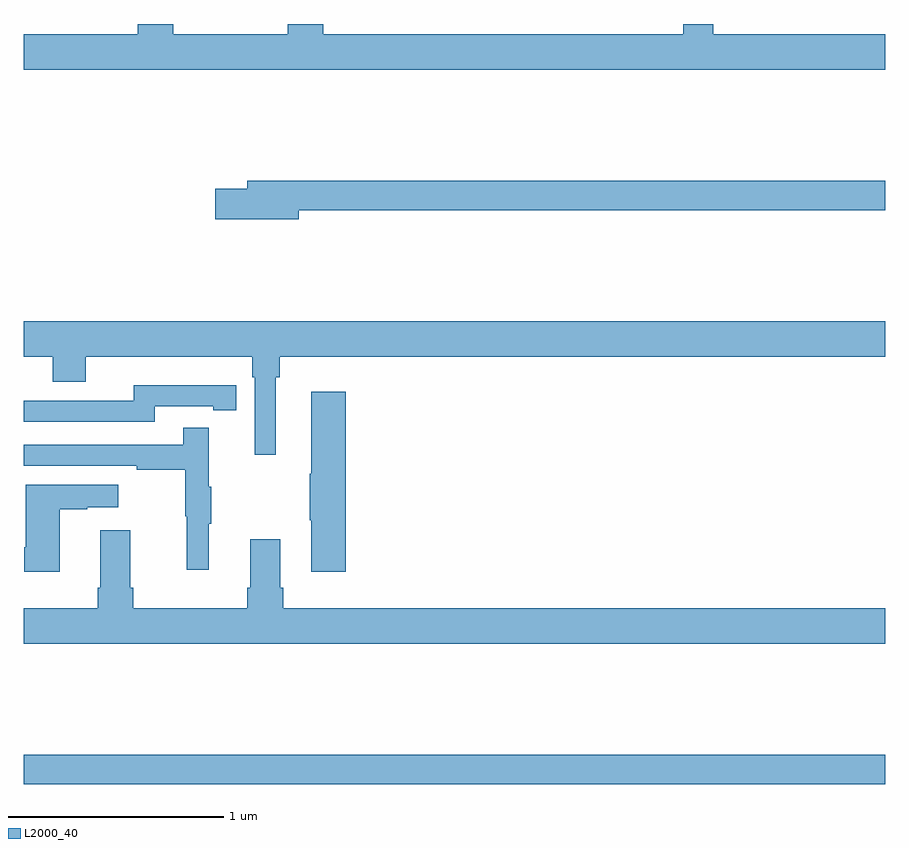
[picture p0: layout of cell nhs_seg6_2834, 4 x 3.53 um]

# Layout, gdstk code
import gdstk
lib = gdstk.Library(unit=1e-6, precision=1e-09)
def R(c, l, rs):  # rectangles x0, y0, x1, y1
    for r in rs: c.add(gdstk.rectangle(r[:2], r[2:], *l))
def P(c, l, *ps):  # polygons
    for p in ps: c.add(gdstk.Polygon(p, *l))
L2000_40 = (2000, 40)

nhs_seg6_2834 = lib.new_cell('nhs_seg6_2834')
R(nhs_seg6_2834, L2000_40, [(277,991.972,281,992.108)])
P(nhs_seg6_2834, L2000_40, [(281,995.452),(280.201,995.452),(280.201,995.5),(280.062,995.5),(280.062,995.452),(278.39,995.452),(278.39,995.5),(278.225,995.5),(278.225,995.452),(277.694,995.452),(277.694,995.5),(277.529,995.5),(277.529,995.452),(277,995.452),(277,995.288),(281,995.288)],
  [(278.278,994.636),(281,994.636),(281,994.772),(278.039,994.772),(278.039,994.736),(277.89,994.736),(277.89,994.594),(278.278,994.594)],
  [(278.17,993.86),(278.189,993.86),(278.189,993.956),(281,993.956),(281,994.12),(277,994.12),(277,993.956),(277.136,993.956),(277.136,993.839),(277.288,993.839),(277.288,993.956),(278.06,993.956),(278.06,993.86),(278.073,993.86),(278.073,993.501),(278.17,993.501)],
  [(277.608,993.726),(277.88,993.726),(277.88,993.706),(277.988,993.706),(277.988,993.822),(277.88,993.822),(277.88,993.823),(277.512,993.823),(277.512,993.75),(277.052,993.75),(277.052,993.752),(277,993.752),(277,993.654),(277.608,993.654)],
  [(278.495,993.793),(278.336,993.793),(278.336,993.413),(278.329,993.413),(278.329,993.196),(278.336,993.196),(278.336,992.958),(278.495,992.958)],
  [(277.859,993.179),(277.87,993.179),(277.87,993.353),(277.859,993.353),(277.859,993.625),(277.741,993.625),(277.741,993.546),(277,993.546),(277,993.45),(277.525,993.45),(277.525,993.43),(277.749,993.43),(277.749,993.216),(277.756,993.216),(277.756,992.967),(277.859,992.967)],
  [(277.168,993.247),(277.295,993.247),(277.295,993.257),(277.438,993.257),(277.438,993.361),(277.01,993.361),(277.01,993.07),(277.003,993.07),(277.003,992.958),(277.168,992.958)],
  [(281,992.788),(278.204,992.788),(278.204,992.884),(278.191,992.884),(278.191,993.109),(278.051,993.109),(278.051,992.884),(278.039,992.884),(278.039,992.788),(277.508,992.788),(277.508,992.884),(277.495,992.884),(277.495,993.151),(277.355,993.151),(277.355,992.884),(277.343,992.884),(277.343,992.788),(277,992.788),(277,992.624),(281,992.624)])

lib.write_gds('nhs_seg6_2834.gds')
